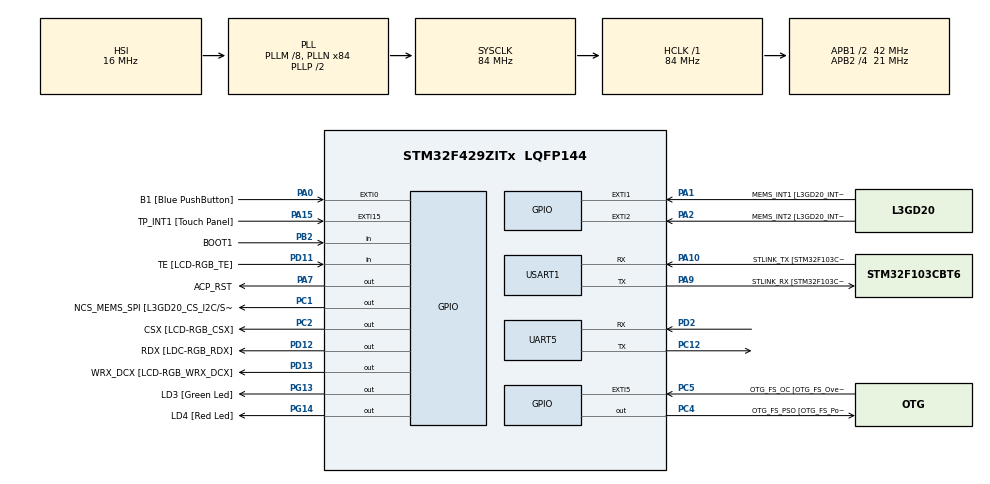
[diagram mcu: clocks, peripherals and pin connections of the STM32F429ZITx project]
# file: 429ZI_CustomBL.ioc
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Mcu.Family=STM32F4
Mcu.Name=STM32F429ZITx
Mcu.Package=LQFP144
NVIC.PriorityGroup=NVIC_PRIORITYGROUP_0
PA0/WKUP.GPIO_Label=B1 [Blue PushButton]
PA0/WKUP.GPIO_ModeDefaultEXTI=GPIO_MODE_EVT_RISING
PA0/WKUP.GPIO_PuPd=GPIO_NOPULL
PA0/WKUP.Signal=GPXTI0
PA1.GPIO_Label=MEMS_INT1 [L3GD20_INT1]
PA1.GPIO_ModeDefaultEXTI=GPIO_MODE_EVT_RISING
PA1.GPIO_PuPd=GPIO_NOPULL
PA1.Signal=GPXTI1
PA10.GPIO_Label=STLINK_TX [STM32F103CBT6_PA2]
PA10.Mode=Asynchronous
PA10.Signal=USART1_RX
PA11.GPIO_Label=R4
PA11.GPIO_Mode=GPIO_MODE_AF_PP
PA11.GPIO_PuPd=GPIO_NOPULL
PA11.GPIO_Speed=GPIO_SPEED_FREQ_LOW
PA11.Signal=LTDC_R4
PA12.GPIO_Label=R5
PA12.GPIO_Mode=GPIO_MODE_AF_PP
PA12.GPIO_PuPd=GPIO_NOPULL
PA12.GPIO_Speed=GPIO_SPEED_FREQ_LOW
PA12.Signal=LTDC_R5
PA13.GPIO_Label=SWDIO
PA13.Signal=SYS_JTMS-SWDIO
PA14.GPIO_Label=SWCLK
PA14.Signal=SYS_JTCK-SWCLK
PA15.GPIO_Label=TP_INT1 [Touch Panel]
PA15.GPIO_ModeDefaultEXTI=GPIO_MODE_EVT_RISING
PA15.GPIO_PuPd=GPIO_NOPULL
PA15.Signal=GPXTI15
PA2.GPIO_Label=MEMS_INT2 [L3GD20_INT2]
PA2.GPIO_ModeDefaultEXTI=GPIO_MODE_EVT_RISING
PA2.GPIO_PuPd=GPIO_NOPULL
PA2.Signal=GPXTI2
PA3.GPIO_Label=B5
PA3.GPIO_Mode=GPIO_MODE_AF_PP
PA3.GPIO_PuPd=GPIO_NOPULL
PA3.GPIO_Speed=GPIO_SPEED_FREQ_LOW
PA3.Signal=LTDC_B5
PA4.GPIO_Label=VSYNC
PA4.GPIO_Mode=GPIO_MODE_AF_PP
PA4.GPIO_PuPd=GPIO_NOPULL
PA4.GPIO_Speed=GPIO_SPEED_FREQ_LOW
PA4.Signal=LTDC_VSYNC
PA6.GPIO_Label=G2
PA6.GPIO_Mode=GPIO_MODE_AF_PP
PA6.GPIO_PuPd=GPIO_NOPULL
PA6.GPIO_Speed=GPIO_SPEED_FREQ_LOW
PA6.Signal=LTDC_G2
PA7.GPIO_Label=ACP_RST
PA7.GPIO_Mode=GPIO_MODE_OUTPUT_PP
PA7.GPIO_PuPd=GPIO_NOPULL
PA7.GPIO_Speed=GPIO_SPEED_FREQ_LOW
PA7.Signal=GPIO_Output
PA8.GPIO_Label=I2C3_SCL [ACP/RF_SCL]
PA8.GPIO_Mode=GPIO_MODE_AF_OD
PA8.GPIO_PuPd=GPIO_NOPULL
PA8.GPIO_Speed=GPIO_SPEED_FREQ_LOW
PA8.Signal=I2C3_SCL
PA9.GPIO_Label=STLINK_RX [STM32F103CBT6_PA3]
PA9.Mode=Asynchronous
PA9.Signal=USART1_TX
PB0.GPIO_Label=R3
PB0.GPIO_Mode=GPIO_MODE_AF_PP
PB0.GPIO_PuPd=GPIO_NOPULL
PB0.GPIO_Speed=GPIO_SPEED_FREQ_LOW
PB0.Signal=LTDC_R3
PB1.GPIO_Label=R6
PB1.GPIO_Mode=GPIO_MODE_AF_PP
PB1.GPIO_PuPd=GPIO_NOPULL
PB1.GPIO_Speed=GPIO_SPEED_FREQ_LOW
PB1.Signal=LTDC_R6
PB10.GPIO_Label=G4
PB10.GPIO_Mode=GPIO_MODE_AF_PP
PB10.GPIO_PuPd=GPIO_NOPULL
PB10.GPIO_Speed=GPIO_SPEED_FREQ_LOW
PB10.Signal=LTDC_G4
PB11.GPIO_Label=G5
PB11.GPIO_Mode=GPIO_MODE_AF_PP
PB11.GPIO_PuPd=GPIO_NOPULL
PB11.GPIO_Speed=GPIO_SPEED_FREQ_LOW
PB11.Signal=LTDC_G5
PB12.GPIO_Label=OTG_HS_ID
PB12.GPIO_Mode=GPIO_MODE_AF_PP
PB12.GPIO_PuPd=GPIO_NOPULL
PB12.GPIO_Speed=GPIO_SPEED_FREQ_LOW
PB12.Signal=USB_OTG_HS_ID
PB13.GPIO_Label=VBUS_HS
PB13.GPIO_Mode=GPIO_MODE_INPUT
PB13.GPIO_PuPd=GPIO_NOPULL
PB13.Signal=USB_OTG_HS_VBUS
PB14.GPIO_Label=OTG_HS_DM
PB14.GPIO_Mode=GPIO_MODE_AF_PP
PB14.GPIO_PuPd=GPIO_NOPULL
PB14.GPIO_Speed=GPIO_SPEED_FREQ_LOW
PB14.Signal=USB_OTG_HS_DM
PB15.GPIO_Label=OTG_HS_DP
PB15.GPIO_Mode=GPIO_MODE_AF_PP
PB15.GPIO_PuPd=GPIO_NOPULL
PB15.GPIO_Speed=GPIO_SPEED_FREQ_LOW
PB15.Signal=USB_OTG_HS_DP
PB2/BOOT1.GPIO_Label=BOOT1
PB2/BOOT1.GPIO_Mode=GPIO_MODE_INPUT
PB2/BOOT1.GPIO_PuPd=GPIO_NOPULL
PB2/BOOT1.Signal=GPIO_Input
PB5.GPIO_Label=SDCKE1
PB5.GPIO_Mode=GPIO_MODE_AF_PP
PB5.GPIO_PuPd=GPIO_NOPULL
PB5.GPIO_Speed=GPIO_SPEED_FREQ_VERY_HIGH
PB5.Signal=FMC_SDCKE1
PB6.GPIO_Label=SDNE1 [SDRAM_CS]
PB6.GPIO_Mode=GPIO_MODE_AF_PP
PB6.GPIO_PuPd=GPIO_NOPULL
PB6.GPIO_Speed=GPIO_SPEED_FREQ_VERY_HIGH
PB6.Signal=FMC_SDNE1
PB8.GPIO_Label=B6
PB8.GPIO_Mode=GPIO_MODE_AF_PP
PB8.GPIO_PuPd=GPIO_NOPULL
PB8.GPIO_Speed=GPIO_SPEED_FREQ_LOW
PB8.Signal=LTDC_B6
PB9.GPIO_Label=B7
PB9.GPIO_Mode=GPIO_MODE_AF_PP
PB9.GPIO_PuPd=GPIO_NOPULL
PB9.GPIO_Speed=GPIO_SPEED_FREQ_LOW
PB9.Signal=LTDC_B7
PC0.GPIO_Label=SDNWE
PC0.GPIO_Mode=GPIO_MODE_AF_PP
PC0.GPIO_PuPd=GPIO_NOPULL
PC0.GPIO_Speed=GPIO_SPEED_FREQ_VERY_HIGH
PC0.Signal=FMC_SDNWE
PC1.GPIO_Label=NCS_MEMS_SPI [L3GD20_CS_I2C/SPI]
PC1.GPIO_Mode=GPIO_MODE_OUTPUT_PP
PC1.GPIO_PuPd=GPIO_NOPULL
PC1.GPIO_Speed=GPIO_SPEED_FREQ_LOW
PC1.Signal=GPIO_Output
PC10.GPIO_Label=R2
PC10.GPIO_Mode=GPIO_MODE_AF_PP
PC10.GPIO_PuPd=GPIO_NOPULL
PC10.GPIO_Speed=GPIO_SPEED_FREQ_LOW
PC10.Signal=LTDC_R2
PC12.Mode=Asynchronous
PC12.Signal=UART5_TX
PC14/OSC32_IN.GPIO_Label=PC14-OSC32_IN
PC14/OSC32_IN.Signal=RCC_OSC32_IN
PC15/OSC32_OUT.GPIO_Label=PC15-OSC32_OUT
PC15/OSC32_OUT.Signal=RCC_OSC32_OUT
PC2.GPIO_Label=CSX [LCD-RGB_CSX]
PC2.GPIO_Mode=GPIO_MODE_OUTPUT_PP
PC2.GPIO_PuPd=GPIO_NOPULL
PC2.GPIO_Speed=GPIO_SPEED_FREQ_LOW
PC2.Signal=GPIO_Output
PC4.GPIO_Label=OTG_FS_PSO [OTG_FS_PowerSwitchOn]
PC4.GPIO_Mode=GPIO_MODE_OUTPUT_PP
PC4.GPIO_PuPd=GPIO_NOPULL
PC4.GPIO_Speed=GPIO_SPEED_FREQ_LOW
PC4.Signal=GPIO_Output
PC5.GPIO_Label=OTG_FS_OC [OTG_FS_OverCurrent]
PC5.GPIO_ModeDefaultEXTI=GPIO_MODE_EVT_RISING
PC5.Signal=GPXTI5
PC6.GPIO_Label=HSYNC
PC6.GPIO_Mode=GPIO_MODE_AF_PP
PC6.GPIO_PuPd=GPIO_NOPULL
PC6.GPIO_Speed=GPIO_SPEED_FREQ_LOW
PC6.Signal=LTDC_HSYNC
PC7.GPIO_Label=G6
PC7.GPIO_Mode=GPIO_MODE_AF_PP
PC7.GPIO_PuPd=GPIO_NOPULL
PC7.GPIO_Speed=GPIO_SPEED_FREQ_LOW
PC7.Signal=LTDC_G6
PC9.GPIO_Label=I2C3_SDA [ACP/RF_SDA]
PC9.GPIO_Mode=GPIO_MODE_AF_OD
PC9.GPIO_PuPd=GPIO_NOPULL
PC9.GPIO_Speed=GPIO_SPEED_FREQ_LOW
PC9.Signal=I2C3_SDA
PD0.GPIO_Label=D2
PD0.GPIO_Mode=GPIO_MODE_AF_PP
PD0.GPIO_PuPd=GPIO_NOPULL
PD0.GPIO_Speed=GPIO_SPEED_FREQ_VERY_HIGH
PD0.Signal=FMC_D2_DA2
PD1.GPIO_Label=D3
PD1.GPIO_Mode=GPIO_MODE_AF_PP
PD1.GPIO_PuPd=GPIO_NOPULL
PD1.GPIO_Speed=GPIO_SPEED_FREQ_VERY_HIGH
PD1.Signal=FMC_D3_DA3
PD10.GPIO_Label=D15
PD10.GPIO_Mode=GPIO_MODE_AF_PP
PD10.GPIO_PuPd=GPIO_NOPULL
PD10.GPIO_Speed=GPIO_SPEED_FREQ_VERY_HIGH
PD10.Signal=FMC_D15_DA15
PD11.GPIO_Label=TE [LCD-RGB_TE]
PD11.GPIO_Mode=GPIO_MODE_INPUT
PD11.GPIO_PuPd=GPIO_NOPULL
PD11.Signal=GPIO_Input
PD12.GPIO_Label=RDX [LDC-RGB_RDX]
PD12.GPIO_Mode=GPIO_MODE_OUTPUT_PP
PD12.GPIO_PuPd=GPIO_NOPULL
PD12.GPIO_Speed=GPIO_SPEED_FREQ_LOW
PD12.Signal=GPIO_Output
PD13.GPIO_Label=WRX_DCX [LCD-RGB_WRX_DCX]
PD13.GPIO_Mode=GPIO_MODE_OUTPUT_PP
PD13.GPIO_PuPd=GPIO_NOPULL
PD13.GPIO_Speed=GPIO_SPEED_FREQ_LOW
PD13.Signal=GPIO_Output
PD14.GPIO_Label=D0
PD14.GPIO_Mode=GPIO_MODE_AF_PP
PD14.GPIO_PuPd=GPIO_NOPULL
PD14.GPIO_Speed=GPIO_SPEED_FREQ_VERY_HIGH
PD14.Signal=FMC_D0_DA0
PD15.GPIO_Label=D1
PD15.GPIO_Mode=GPIO_MODE_AF_PP
PD15.GPIO_PuPd=GPIO_NOPULL
PD15.GPIO_Speed=GPIO_SPEED_FREQ_VERY_HIGH
PD15.Signal=FMC_D1_DA1
PD2.Mode=Asynchronous
PD2.Signal=UART5_RX
PD3.GPIO_Label=G7
PD3.GPIO_Mode=GPIO_MODE_AF_PP
PD3.GPIO_PuPd=GPIO_NOPULL
PD3.GPIO_Speed=GPIO_SPEED_FREQ_LOW
PD3.Signal=LTDC_G7
PD6.GPIO_Label=B2
PD6.GPIO_Mode=GPIO_MODE_AF_PP
PD6.GPIO_PuPd=GPIO_NOPULL
PD6.GPIO_Speed=GPIO_SPEED_FREQ_LOW
PD6.Signal=LTDC_B2
PD8.GPIO_Label=D13
PD8.GPIO_Mode=GPIO_MODE_AF_PP
PD8.GPIO_PuPd=GPIO_NOPULL
PD8.GPIO_Speed=GPIO_SPEED_FREQ_VERY_HIGH
PD8.Signal=FMC_D13_DA13
PD9.GPIO_Label=D14
PD9.GPIO_Mode=GPIO_MODE_AF_PP
PD9.GPIO_PuPd=GPIO_NOPULL
PD9.GPIO_Speed=GPIO_SPEED_FREQ_VERY_HIGH
PD9.Signal=FMC_D14_DA14
PE0.GPIO_Label=NBL0 [SDRAM_LDQM]
PE0.GPIO_Mode=GPIO_MODE_AF_PP
PE0.GPIO_PuPd=GPIO_NOPULL
PE0.GPIO_Speed=GPIO_SPEED_FREQ_VERY_HIGH
PE0.Signal=FMC_NBL0
PE1.GPIO_Label=NBL1 [SDRAM_UDQM]
PE1.GPIO_Mode=GPIO_MODE_AF_PP
PE1.GPIO_PuPd=GPIO_NOPULL
PE1.GPIO_Speed=GPIO_SPEED_FREQ_VERY_HIGH
PE1.Signal=FMC_NBL1
PE10.GPIO_Label=D7
PE10.GPIO_Mode=GPIO_MODE_AF_PP
PE10.GPIO_PuPd=GPIO_NOPULL
PE10.GPIO_Speed=GPIO_SPEED_FREQ_VERY_HIGH
PE10.Signal=FMC_D7_DA7
PE11.GPIO_Label=D8
PE11.GPIO_Mode=GPIO_MODE_AF_PP
PE11.GPIO_PuPd=GPIO_NOPULL
PE11.GPIO_Speed=GPIO_SPEED_FREQ_VERY_HIGH
PE11.Signal=FMC_D8_DA8
PE12.GPIO_Label=D9
PE12.GPIO_Mode=GPIO_MODE_AF_PP
PE12.GPIO_PuPd=GPIO_NOPULL
PE12.GPIO_Speed=GPIO_SPEED_FREQ_VERY_HIGH
PE12.Signal=FMC_D9_DA9
PE13.GPIO_Label=D10
PE13.GPIO_Mode=GPIO_MODE_AF_PP
PE13.GPIO_PuPd=GPIO_NOPULL
PE13.GPIO_Speed=GPIO_SPEED_FREQ_VERY_HIGH
PE13.Signal=FMC_D10_DA10
PE14.GPIO_Label=D11
PE14.GPIO_Mode=GPIO_MODE_AF_PP
PE14.GPIO_PuPd=GPIO_NOPULL
PE14.GPIO_Speed=GPIO_SPEED_FREQ_VERY_HIGH
PE14.Signal=FMC_D11_DA11
PE15.GPIO_Label=D12
PE15.GPIO_Mode=GPIO_MODE_AF_PP
PE15.GPIO_PuPd=GPIO_NOPULL
PE15.GPIO_Speed=GPIO_SPEED_FREQ_VERY_HIGH
PE15.Signal=FMC_D12_DA12
PE7.GPIO_Label=D4
PE7.GPIO_Mode=GPIO_MODE_AF_PP
PE7.GPIO_PuPd=GPIO_NOPULL
PE7.GPIO_Speed=GPIO_SPEED_FREQ_VERY_HIGH
PE7.Signal=FMC_D4_DA4
PE8.GPIO_Label=D5
PE8.GPIO_Mode=GPIO_MODE_AF_PP
PE8.GPIO_PuPd=GPIO_NOPULL
PE8.GPIO_Speed=GPIO_SPEED_FREQ_VERY_HIGH
PE8.Signal=FMC_D5_DA5
PE9.GPIO_Label=D6
PE9.GPIO_Mode=GPIO_MODE_AF_PP
PE9.GPIO_PuPd=GPIO_NOPULL
PE9.GPIO_Speed=GPIO_SPEED_FREQ_VERY_HIGH
PE9.Signal=FMC_D6_DA6
PF0.GPIO_Label=A0
PF0.GPIO_Mode=GPIO_MODE_AF_PP
PF0.GPIO_PuPd=GPIO_NOPULL
PF0.GPIO_Speed=GPIO_SPEED_FREQ_VERY_HIGH
PF0.Signal=FMC_A0
PF1.GPIO_Label=A1
PF1.GPIO_Mode=GPIO_MODE_AF_PP
PF1.GPIO_PuPd=GPIO_NOPULL
PF1.GPIO_Speed=GPIO_SPEED_FREQ_VERY_HIGH
PF1.Signal=FMC_A1
PF10.GPIO_Label=ENABLE [LCD-RGB_ENABLE]
PF10.GPIO_Mode=GPIO_MODE_AF_PP
PF10.GPIO_PuPd=GPIO_NOPULL
PF10.GPIO_Speed=GPIO_SPEED_FREQ_LOW
PF10.Signal=LTDC_DE
PF11.GPIO_Label=SDNRAS
PF11.GPIO_Mode=GPIO_MODE_AF_PP
PF11.GPIO_PuPd=GPIO_NOPULL
PF11.GPIO_Speed=GPIO_SPEED_FREQ_VERY_HIGH
PF11.Signal=FMC_SDNRAS
PF12.GPIO_Label=A6
PF12.GPIO_Mode=GPIO_MODE_AF_PP
PF12.GPIO_PuPd=GPIO_NOPULL
PF12.GPIO_Speed=GPIO_SPEED_FREQ_VERY_HIGH
PF12.Signal=FMC_A6
PF13.GPIO_Label=A7
PF13.GPIO_Mode=GPIO_MODE_AF_PP
PF13.GPIO_PuPd=GPIO_NOPULL
PF13.GPIO_Speed=GPIO_SPEED_FREQ_VERY_HIGH
PF13.Signal=FMC_A7
PF14.GPIO_Label=A8
PF14.GPIO_Mode=GPIO_MODE_AF_PP
PF14.GPIO_PuPd=GPIO_NOPULL
PF14.GPIO_Speed=GPIO_SPEED_FREQ_VERY_HIGH
PF14.Signal=FMC_A8
PF15.GPIO_Label=A9
PF15.GPIO_Mode=GPIO_MODE_AF_PP
PF15.GPIO_PuPd=GPIO_NOPULL
PF15.GPIO_Speed=GPIO_SPEED_FREQ_VERY_HIGH
PF15.Signal=FMC_A9
PF2.GPIO_Label=A2
PF2.GPIO_Mode=GPIO_MODE_AF_PP
PF2.GPIO_PuPd=GPIO_NOPULL
PF2.GPIO_Speed=GPIO_SPEED_FREQ_VERY_HIGH
PF2.Signal=FMC_A2
PF3.GPIO_Label=A3
PF3.GPIO_Mode=GPIO_MODE_AF_PP
PF3.GPIO_PuPd=GPIO_NOPULL
PF3.GPIO_Speed=GPIO_SPEED_FREQ_VERY_HIGH
PF3.Signal=FMC_A3
PF4.GPIO_Label=A4
PF4.GPIO_Mode=GPIO_MODE_AF_PP
PF4.GPIO_PuPd=GPIO_NOPULL
PF4.GPIO_Speed=GPIO_SPEED_FREQ_VERY_HIGH
PF4.Signal=FMC_A4
PF5.GPIO_Label=A5
PF5.GPIO_Mode=GPIO_MODE_AF_PP
PF5.GPIO_PuPd=GPIO_NOPULL
PF5.GPIO_Speed=GPIO_SPEED_FREQ_VERY_HIGH
PF5.Signal=FMC_A5
PF7.GPIO_Label=SPI5_SCK [L3GD20_SCL/SPC]
PF7.GPIO_Mode=GPIO_MODE_AF_PP
PF7.GPIO_PuPd=GPIO_NOPULL
PF7.GPIO_Speed=GPIO_SPEED_FREQ_LOW
PF7.Signal=SPI5_SCK
PF8.GPIO_Label=SPI5_MISO [L3GD20_SDO]
PF8.GPIO_Mode=GPIO_MODE_AF_PP
PF8.GPIO_PuPd=GPIO_NOPULL
PF8.GPIO_Speed=GPIO_SPEED_FREQ_LOW
PF8.Signal=SPI5_MISO
PF9.GPIO_Label=SPI5_MOSI [L3GD20_SDA/SDI/SDO]
PF9.GPIO_Mode=GPIO_MODE_AF_PP
PF9.GPIO_PuPd=GPIO_NOPULL
PF9.GPIO_Speed=GPIO_SPEED_FREQ_LOW
PF9.Signal=SPI5_MOSI
PG0.GPIO_Label=A10
PG0.GPIO_Mode=GPIO_MODE_AF_PP
PG0.GPIO_PuPd=GPIO_NOPULL
PG0.GPIO_Speed=GPIO_SPEED_FREQ_VERY_HIGH
PG0.Signal=FMC_A10
PG1.GPIO_Label=A11
PG1.GPIO_Mode=GPIO_MODE_AF_PP
PG1.GPIO_PuPd=GPIO_NOPULL
PG1.GPIO_Speed=GPIO_SPEED_FREQ_VERY_HIGH
PG1.Signal=FMC_A11
PG10.GPIO_Label=G3
PG10.GPIO_Mode=GPIO_MODE_AF_PP
PG10.GPIO_PuPd=GPIO_NOPULL
PG10.GPIO_Speed=GPIO_SPEED_FREQ_LOW
PG10.Signal=LTDC_G3
PG11.GPIO_Label=B3
PG11.GPIO_Mode=GPIO_MODE_AF_PP
PG11.GPIO_PuPd=GPIO_NOPULL
PG11.GPIO_Speed=GPIO_SPEED_FREQ_LOW
PG11.Signal=LTDC_B3
PG12.GPIO_Label=B4
PG12.GPIO_Mode=GPIO_MODE_AF_PP
PG12.GPIO_PuPd=GPIO_NOPULL
PG12.GPIO_Speed=GPIO_SPEED_FREQ_LOW
PG12.Signal=LTDC_B4
PG13.GPIO_Label=LD3 [Green Led]
PG13.GPIO_Mode=GPIO_MODE_OUTPUT_PP
PG13.GPIO_PuPd=GPIO_NOPULL
PG13.GPIO_Speed=GPIO_SPEED_FREQ_LOW
PG13.Signal=GPIO_Output
PG14.GPIO_Label=LD4 [Red Led]
PG14.GPIO_Mode=GPIO_MODE_OUTPUT_PP
PG14.GPIO_PuPd=GPIO_NOPULL
PG14.GPIO_Speed=GPIO_SPEED_FREQ_LOW
PG14.Signal=GPIO_Output
PG15.GPIO_Label=SDNCAS
PG15.GPIO_Mode=GPIO_MODE_AF_PP
PG15.GPIO_PuPd=GPIO_NOPULL
PG15.GPIO_Speed=GPIO_SPEED_FREQ_VERY_HIGH
PG15.Signal=FMC_SDNCAS
PG4.GPIO_Label=BA0
PG4.GPIO_Mode=GPIO_MODE_AF_PP
PG4.GPIO_PuPd=GPIO_NOPULL
PG4.GPIO_Speed=GPIO_SPEED_FREQ_VERY_HIGH
PG4.Signal=FMC_A14_BA0
PG5.GPIO_Label=BA1
PG5.GPIO_Mode=GPIO_MODE_AF_PP
PG5.GPIO_PuPd=GPIO_NOPULL
PG5.GPIO_Speed=GPIO_SPEED_FREQ_VERY_HIGH
PG5.Signal=FMC_A15_BA1
PG6.GPIO_Label=R7
PG6.GPIO_Mode=GPIO_MODE_AF_PP
PG6.GPIO_PuPd=GPIO_NOPULL
PG6.GPIO_Speed=GPIO_SPEED_FREQ_LOW
PG6.Signal=LTDC_R7
PG7.GPIO_Label=DOTCLK [LCT-RGB_DOTCLK]
PG7.GPIO_Mode=GPIO_MODE_AF_PP
PG7.GPIO_PuPd=GPIO_NOPULL
PG7.GPIO_Speed=GPIO_SPEED_FREQ_LOW
PG7.Signal=LTDC_CLK
PG8.GPIO_Label=SDCLK
PG8.GPIO_Mode=GPIO_MODE_AF_PP
PG8.GPIO_PuPd=GPIO_NOPULL
PG8.GPIO_Speed=GPIO_SPEED_FREQ_VERY_HIGH
PG8.Signal=FMC_SDCLK
PH0/OSC_IN.GPIO_Label=PH0-OSC_IN
PH0/OSC_IN.Signal=RCC_OSC_IN
PH1/OSC_OUT.GPIO_Label=PH1-OSC_OUT
PH1/OSC_OUT.Signal=RCC_OSC_OUT
ProjectManager.HeapSize=0x200
ProjectManager.StackSize=0x400
ProjectManager.TargetToolchain=MDK-ARM V5.27
RCC.48MHZClocksFreq_Value=24000000
RCC.AHBFreq_Value=84000000
RCC.APB1CLKDivider=RCC_HCLK_DIV2
RCC.APB1Freq_Value=42000000
RCC.APB1TimFreq_Value=84000000
RCC.APB2CLKDivider=RCC_HCLK_DIV4
RCC.APB2Freq_Value=21000000
RCC.APB2TimFreq_Value=42000000
RCC.CortexFreq_Value=84000000
RCC.HCLKFreq_Value=84000000
RCC.HSE_VALUE=8000000
RCC.HSI_VALUE=16000000
RCC.LSE_VALUE=32768
RCC.PLLM=8
RCC.PLLN=84
RCC.PLLQ=7
RCC.SYSCLKFreq_VALUE=84000000
RCC.SYSCLKSource=RCC_SYSCLKSOURCE_PLLCLK
RCC.VCOOutputFreq_Value=168000000
SH.FMC_A0.0=FMC_A0
SH.FMC_A1.0=FMC_A1
SH.FMC_A10.0=FMC_A10
SH.FMC_A11.0=FMC_A11
SH.FMC_A14_BA0.0=FMC_BA0
SH.FMC_A15_BA1.0=FMC_BA1
SH.FMC_A2.0=FMC_A2
SH.FMC_A3.0=FMC_A3
SH.FMC_A4.0=FMC_A4
SH.FMC_A5.0=FMC_A5
SH.FMC_A6.0=FMC_A6
SH.FMC_A7.0=FMC_A7
SH.FMC_A8.0=FMC_A8
SH.FMC_A9.0=FMC_A9
SH.FMC_D0_DA0.0=FMC_D0
SH.FMC_D10_DA10.0=FMC_D10
SH.FMC_D11_DA11.0=FMC_D11
SH.FMC_D12_DA12.0=FMC_D12
SH.FMC_D13_DA13.0=FMC_D13
SH.FMC_D14_DA14.0=FMC_D14
SH.FMC_D15_DA15.0=FMC_D15
SH.FMC_D1_DA1.0=FMC_D1
SH.FMC_D2_DA2.0=FMC_D2
SH.FMC_D3_DA3.0=FMC_D3
SH.FMC_D4_DA4.0=FMC_D4
SH.FMC_D5_DA5.0=FMC_D5
SH.FMC_D6_DA6.0=FMC_D6
SH.FMC_D7_DA7.0=FMC_D7
SH.FMC_D8_DA8.0=FMC_D8
SH.FMC_D9_DA9.0=FMC_D9
SH.FMC_NBL0.0=FMC_NBL0
SH.FMC_NBL1.0=FMC_NBL1
SH.FMC_SDCLK.0=FMC_SDCLK
SH.FMC_SDNCAS.0=FMC_SDNCAS
SH.FMC_SDNRAS.0=FMC_SDNRAS
SH.FMC_SDNWE.0=FMC_SDNWE
UART5.VirtualMode=Asynchronous
USART1.VirtualMode=VM_ASYNC
VP_CRC_VS_CRC.Mode=CRC_Activate
board=STM32F429I-DISC1

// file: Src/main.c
/* USER CODE BEGIN Header */
/**
  ******************************************************************************
  * @file           : main.c
  * @brief          : Main program body
  ******************************************************************************
  * @attention
  *
  * <h2><center>&copy; Copyright (c) 2020 STMicroelectronics.
  * All rights reserved.</center></h2>
  *
  * This software component is licensed by ST under BSD 3-Clause license,
  * the "License"; You may not use this file except in compliance with the
  * License. You may obtain a copy of the License at:
  *                        opensource.org/licenses/BSD-3-Clause
  *
  ******************************************************************************
  */
/* USER CODE END Header */

#include "main.h"
#include "crc.h"
#include "usart.h"
#include "gpio.h"

/* USER CODE BEGIN Includes */
#include <string.h>
#include <stdio.h>
#include <stdarg.h>
/* USER CODE END Includes */

/* USER CODE BEGIN PV */
#define MAX_CMD_LEN	256
uint8_t cmd_rx_buffer[MAX_CMD_LEN];
/* USER CODE END PV */

void SystemClock_Config(void);

int main(void)
{

  /* MCU Configuration--------------------------------------------------------*/

  /* Reset of all peripherals, Initializes the Flash interface and the Systick. */
  HAL_Init();

  /* USER CODE BEGIN Init */
	// uint8_t msg[] = "Hello Make BootLoader\r\n";
  /* USER CODE END Init */

  /* Configure the system clock */
  SystemClock_Config();

  /* Initialize all configured peripherals */
  MX_GPIO_Init();
  MX_USART1_UART_Init();
  MX_CRC_Init();
  MX_UART5_Init();

  /* Infinite loop */
  while (1)
  {

    /* USER CODE BEGIN 3 */
			if(HAL_GPIO_ReadPin(GPIOA, GPIO_PIN_0) == GPIO_PIN_SET) {
				read_bootloader_cmd();
			}
			else {
				// Jump to User App
				jump_to_user_app();
			}

  }
  /* USER CODE END 3 */
}

void SystemClock_Config(void)
{
  RCC_OscInitTypeDef RCC_OscInitStruct = {0};
  RCC_ClkInitTypeDef RCC_ClkInitStruct = {0};

  /** Configure the main internal regulator output voltage
  */
  __HAL_RCC_PWR_CLK_ENABLE();
  __HAL_PWR_VOLTAGESCALING_CONFIG(PWR_REGULATOR_VOLTAGE_SCALE3);
  /** Initializes the CPU, AHB and APB busses clocks
  */
  RCC_OscInitStruct.OscillatorType = RCC_OSCILLATORTYPE_HSI;
  RCC_OscInitStruct.HSIState = RCC_HSI_ON;
  RCC_OscInitStruct.HSICalibrationValue = RCC_HSICALIBRATION_DEFAULT;
  RCC_OscInitStruct.PLL.PLLState = RCC_PLL_ON;
  RCC_OscInitStruct.PLL.PLLSource = RCC_PLLSOURCE_HSI;
  RCC_OscInitStruct.PLL.PLLM = 8;
  RCC_OscInitStruct.PLL.PLLN = 84;
  RCC_OscInitStruct.PLL.PLLP = RCC_PLLP_DIV2;
  RCC_OscInitStruct.PLL.PLLQ = 7;
  if (HAL_RCC_OscConfig(&RCC_OscInitStruct) != HAL_OK)
  {
    Error_Handler();
  }
  /** Initializes the CPU, AHB and APB busses clocks
  */
  RCC_ClkInitStruct.ClockType = RCC_CLOCKTYPE_HCLK|RCC_CLOCKTYPE_SYSCLK
                              |RCC_CLOCKTYPE_PCLK1|RCC_CLOCKTYPE_PCLK2;
  RCC_ClkInitStruct.SYSCLKSource = RCC_SYSCLKSOURCE_PLLCLK;
  RCC_ClkInitStruct.AHBCLKDivider = RCC_SYSCLK_DIV1;
  RCC_ClkInitStruct.APB1CLKDivider = RCC_HCLK_DIV2;
  RCC_ClkInitStruct.APB2CLKDivider = RCC_HCLK_DIV4;

  if (HAL_RCC_ClockConfig(&RCC_ClkInitStruct, FLASH_LATENCY_2) != HAL_OK)
  {
    Error_Handler();
  }
}

/* USER CODE BEGIN 4 */
#define USER_APP_FLASH_BASE_ADDR	0x08008000

void jump_to_user_app(void)
{
	void (*app_reset_handler)(void);

	uint32_t msp_value = *(volatile uint32_t *)(USER_APP_FLASH_BASE_ADDR);

	__set_MSP(msp_value);

	uint32_t reset_handler_addr = *(volatile uint32_t*)(USER_APP_FLASH_BASE_ADDR + 4);
	app_reset_handler = (void *)reset_handler_addr;

	app_reset_handler();
}

void read_bootloader_cmd(void)
{
	uint8_t cmd_len = 0;

	while(1) {
		memset(cmd_rx_buffer, 0, MAX_CMD_LEN);
		HAL_UART_Receive(&huart1, &cmd_rx_buffer[0], 1, HAL_MAX_DELAY);
		cmd_len = cmd_rx_buffer[0];
		HAL_UART_Receive(&huart1, &cmd_rx_buffer[1], cmd_len, HAL_MAX_DELAY);

		switch(cmd_rx_buffer[1]) {
			case GET_VER:
				bootloader_getver_cmd(cmd_rx_buffer);
				break;
			case GET_HELP:
				break;
			case GET_ID:
				break;
			default:
				break;
		}
	}
}

void print_debug_msg(char *format, ...)
{
	char str[80];

	/*Extract the the argument list using VA apis */
	va_list args;
	va_start(args, format);
	vsprintf(str, format,args);
	HAL_UART_Transmit(&huart5, (uint8_t*)str, strlen(str), HAL_MAX_DELAY);
	va_end(args);
}

void send_ack(int reply_len)
{
		uint8_t ack_buf[2];
		ack_buf[0] = ACK;
		ack_buf[1] = reply_len;
		HAL_UART_Transmit(&huart1, ack_buf, 2, HAL_MAX_DELAY);
}

void send_nack(void)
{
		uint8_t nack;
		nack = NACK;
		HAL_UART_Transmit(&huart1, &nack, 1, HAL_MAX_DELAY);
}

uint8_t check_crc(uint8_t *pData, uint32_t len, uint32_t crc_host)
{
	uint32_t crcValue = 0xff;

	for(uint32_t i = 0; i < len; i++) {
		uint32_t i_data = pData[i];
		crcValue = HAL_CRC_Accumulate(&hcrc, &i_data, 1);
	}

	if(crcValue == crc_host)
	{
		return 0;
	}
	else {
		return 1;
	}
}

void bootloader_getver_cmd(uint8_t *pBuffer)
{
	uint8_t bl_version;

	print_debug_msg("start bootloader_getver_cmd!\r\n");

	uint32_t command_len = pBuffer[0] + 1;
	uint32_t host_crc = *((uint32_t *)(pBuffer + command_len - 4));

	if (! check_crc(&pBuffer[0],command_len-4,host_crc))
    {
        print_debug_msg("BL_DEBUG_MSG:checksum success !!\n");
        // checksum is correct..
        send_ack(1);
        // bl_version=get_bootloader_version();
        print_debug_msg("BL_DEBUG_MSG:BL_VER : %d %#x\n",bl_version,bl_version);
        // bootloader_uart_write_data(&bl_version,1);

    }else
    {
        print_debug_msg("BL_DEBUG_MSG:checksum fail !!\n");
        //checksum is wrong send nack
        send_nack();
    }

}

/* USER CODE END 4 */

void Error_Handler(void)
{
}

/************************ (C) COPYRIGHT STMicroelectronics *****END OF FILE****/
